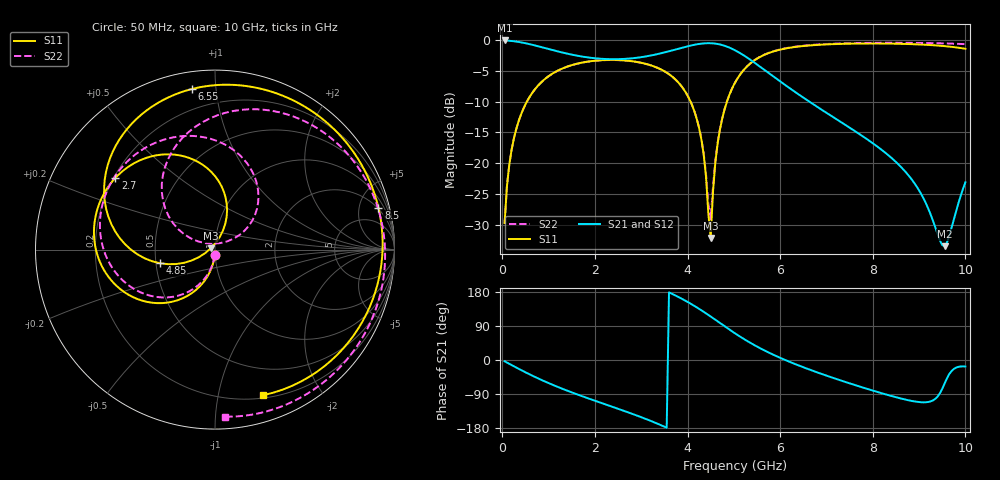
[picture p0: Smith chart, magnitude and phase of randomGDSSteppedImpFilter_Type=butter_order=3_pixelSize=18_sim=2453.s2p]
! freq	dB(S11)	phase(S11)	dB(S12)	phase(S12)
!  dB(S21)	phase(S21)	dB(S22)	phase(S22)
!S-par simulation data
#  GHz  S  DB  R 50
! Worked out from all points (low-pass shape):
!   200 points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, 50 MHz to 10 GHz, reference 50 ohm
!   highest |S21| = -0.01 dB at 50 MHz (marker M1); lowest = -33.5 dB at 9.55 GHz (marker M2)
!   |S21| within 3 dB of the highest: start of sweep to 2.166 GHz; 2.651 GHz to 5.328 GHz (2.678 GHz wide, 67.1 % of centre)
!   lowest |S11| = -32.2 dB at 4.5 GHz (marker M3), VSWR 1.05, Z = 47.7 + j0.754 ohm
!   |S11| at or under -10 dB: start of sweep to 529.8 MHz; 4.066 GHz to 4.85 GHz (783.6 MHz wide, 17.6 % of centre)
!   |S22| runs from -29.8 to -0.4 dB; largest |S21 - S12| = 0
!   S11 on the Smith chart (normalised r, x): 50 MHz: 0.99, -0.06; 2.7 GHz: 0.21, +0.31; 4.85 GHz: 0.52, -0.09; 6.55 GHz: 0.09, +0.86; 8.5 GHz: 1.85, +7.44; 10 GHz: 0.23, -1.36
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0.05  -29.76 -93.3  -0.01 -3.4  -0.01 -3.4  -29.77 -93.7
0.2  -17.85 -102.9  -0.09 -13.3  -0.09 -13.3  -17.85 -104.6
0.5  -10.42 -120.9  -0.46 -32.4  -0.46 -32.4  -10.43 -125.1
1.05  -5.57 -149.7  -1.50 -63.6  -1.50 -63.6  -5.57 -158.6
1.75  -3.57 -179.7  -2.66 -96.7  -2.66 -96.7  -3.58 165.3
2.7  -3.30 144.3  -2.98 -137.4  -2.98 -137.4  -3.31 120.3
3.4  -4.63 115.3  -2.14 -170.6  -2.14 -170.6  -4.63 84.3
4.2  -12.81 72.9  -0.63 138.8  -0.63 138.8  -12.77 35.1
4.35  -18.67 67.3  -0.48 127.1  -0.48 127.1  -18.48 30.5
4.5  -32.18 161.3  -0.46 114.7  -0.46 114.7  -29.10 109.5
4.6  -19.91 -154.8  -0.52 106.2  -0.52 106.2  -19.66 154.1
4.85  -9.99 -166.1  -1.00 84.9  -1.00 84.9  -9.97 144.3
5.05  -6.56 179.9  -1.70 68.4  -1.70 68.4  -6.54 129.0
5.75  -2.06 136.3  -5.30 19.8  -5.30 19.8  -2.04 79.7
6.55  -0.88 98.1  -9.57 -21.5  -9.57 -21.5  -0.83 36.8
6.7  -0.78 91.6  -10.33 -28.3  -10.33 -28.3  -0.73 29.8
7.5  -0.53 58.1  -14.21 -61.6  -14.21 -61.6  -0.45 -3.7
8.35  -0.52 21.3  -18.79 -93.2  -18.79 -93.2  -0.38 -34.6
8.5  -0.54 14.4  -19.80 -98.2  -19.80 -98.2  -0.38 -39.7
9.05  -0.67 -12.5  -25.09 -111.5  -25.09 -111.5  -0.42 -57.5
9.55  -0.93 -40.6  -33.52 -62.3  -33.52 -62.3  -0.49 -73.0
10  -1.37 -71.7  -23.11 -17.2  -23.11 -17.2  -0.61 -86.7
